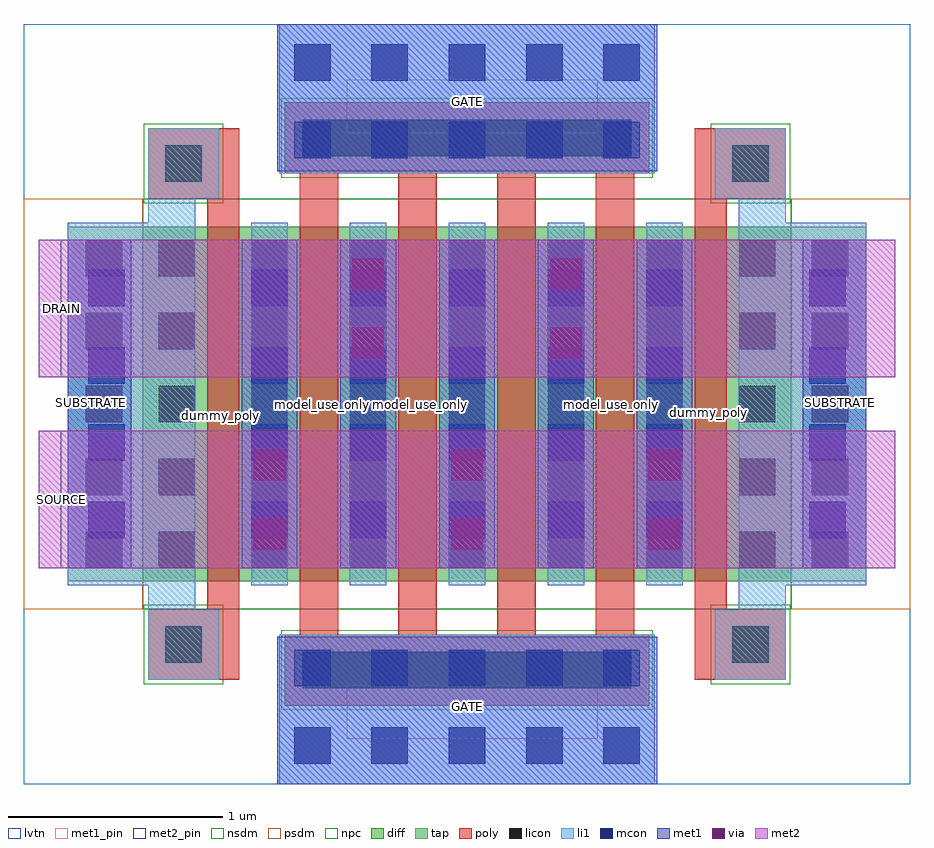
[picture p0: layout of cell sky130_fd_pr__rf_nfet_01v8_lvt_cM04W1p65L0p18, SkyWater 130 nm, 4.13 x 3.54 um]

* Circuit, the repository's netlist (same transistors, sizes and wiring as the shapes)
* Copyright 2020 The SkyWater PDK Authors
*
* Licensed under the Apache License, Version 2.0 (the "License");
* you may not use this file except in compliance with the License.
* You may obtain a copy of the License at
*
*     https://www.apache.org/licenses/LICENSE-2.0
*
* Unless required by applicable law or agreed to in writing, software
* distributed under the License is distributed on an "AS IS" BASIS,
* WITHOUT WARRANTIES OR CONDITIONS OF ANY KIND, either express or implied.
* See the License for the specific language governing permissions and
* limitations under the License.
*
* SPDX-License-Identifier: Apache-2.0


.subckt sky130_fd_pr__rf_nfet_01v8_lvt_cM04W1p65L0p18 DRAIN GATE SOURCE SUBSTRATE
X0 SOURCE GATE DRAIN SUBSTRATE sky130_fd_pr__nfet_01v8_lvt w=1.65e+06u l=180000u
X1 SOURCE SUBSTRATE SUBSTRATE SUBSTRATE sky130_fd_pr__nfet_01v8_lvt w=1.65e+06u l=150000u
X2 DRAIN GATE SOURCE SUBSTRATE sky130_fd_pr__nfet_01v8_lvt w=1.65e+06u l=180000u
X3 DRAIN GATE SOURCE SUBSTRATE sky130_fd_pr__nfet_01v8_lvt w=1.65e+06u l=180000u
X4 SUBSTRATE SUBSTRATE SOURCE SUBSTRATE sky130_fd_pr__nfet_01v8_lvt w=1.65e+06u l=150000u
X5 SOURCE GATE DRAIN SUBSTRATE sky130_fd_pr__nfet_01v8_lvt w=1.65e+06u l=180000u
.ends

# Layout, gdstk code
import gdstk
lib = gdstk.Library(unit=1e-6, precision=1e-09)
def R(c, l, rs):  # rectangles x0, y0, x1, y1
    for r in rs: c.add(gdstk.rectangle(r[:2], r[2:], *l))
def A(c, l, x, y, w, h, nx, ny, dx, dy):  # array of equal rectangles
    R(c, l, [(x+i*dx, y+j*dy, x+i*dx+w, y+j*dy+h) for i in range(nx) for j in range(ny)])
diff = (65, 20)
tap = (65, 44)
poly = (66, 20)
licon = (66, 44)
li1 = (67, 20)
mcon = (67, 44)
met1_pin = (68, 16)
met1 = (68, 20)
via = (68, 44)
met2_pin = (69, 16)
met2 = (69, 20)
nsdm = (93, 44)
psdm = (94, 20)
npc = (95, 20)
lvtn = (125, 44)

sky130_fd_pr__rf_nfet_01 = lib.new_cell('sky130_fd_pr__rf_nfet_01v8_lvt_cM04W1p65L0p18')
R(sky130_fd_pr__rf_nfet_01, diff, [(0.555,0.945,3.575,2.595)])
R(sky130_fd_pr__rf_nfet_01, tap, [(0.205,0.945,0.555,2.595), (3.575,0.945,3.925,2.595)])
A(sky130_fd_pr__rf_nfet_01, poly, 1.285, 0.695, 0.18, 2.15, 4, 1, 0.46, 0)
R(sky130_fd_pr__rf_nfet_01, poly, [(1.215,0.365,2.915,0.695), (0.58,0.485,0.91,0.815), (0.855,0.485,1.005,3.055), (3.125,0.485,3.275,3.055), (3.22,0.485,3.55,0.815), (0.58,2.725,0.91,3.055), (3.22,2.725,3.55,3.055), (1.215,2.845,2.915,3.175)])
A(sky130_fd_pr__rf_nfet_01, licon, 0.29, 1.005, 0.17, 0.17, 1, 5, 0, 0.34)
A(sky130_fd_pr__rf_nfet_01, licon, 0.63, 1.005, 0.17, 0.17, 1, 5, 0, 0.34)
A(sky130_fd_pr__rf_nfet_01, licon, 1.06, 1.005, 0.17, 1.53, 3, 1, 0.46, 0)
A(sky130_fd_pr__rf_nfet_01, licon, 1.98, 1.005, 0.17, 1.53, 3, 1, 0.46, 0)
A(sky130_fd_pr__rf_nfet_01, licon, 3.33, 1.005, 0.17, 0.17, 1, 5, 0, 0.34)
A(sky130_fd_pr__rf_nfet_01, licon, 3.67, 1.005, 0.17, 0.17, 1, 5, 0, 0.34)
R(sky130_fd_pr__rf_nfet_01, licon, [(1.3,0.445,2.83,0.615), (0.66,0.565,0.83,0.735), (3.3,0.565,3.47,0.735), (1.06,1.005,1.23,2.535), (2.9,1.005,3.07,2.535), (0.66,2.805,0.83,2.975), (3.3,2.805,3.47,2.975), (1.3,2.925,2.83,3.095)])
A(sky130_fd_pr__rf_nfet_01, li1, 1.06, 0.925, 0.17, 1.69, 5, 1, 0.46, 0)
R(sky130_fd_pr__rf_nfet_01, li1, [(1.19,0,2.94,0.695), (0.58,0.485,0.91,0.815), (3.22,0.485,3.55,0.815), (0.58,0.815,0.8,0.925), (3.33,0.815,3.55,0.925), (0.205,0.925,0.8,2.615), (3.33,0.925,3.925,2.615), (0.58,2.615,0.8,2.725), (3.33,2.615,3.55,2.725), (0.58,2.725,0.91,3.055), (3.22,2.725,3.55,3.055), (1.19,2.845,2.94,3.54)])
A(sky130_fd_pr__rf_nfet_01, mcon, 1.26, 0.095, 0.17, 0.17, 5, 2, 0.36, 0.36)
A(sky130_fd_pr__rf_nfet_01, mcon, 0.3, 1.145, 0.17, 0.17, 1, 4, 0, 0.36)
A(sky130_fd_pr__rf_nfet_01, mcon, 1.06, 1.145, 0.17, 0.17, 5, 4, 0.46, 0.36)
A(sky130_fd_pr__rf_nfet_01, mcon, 3.66, 1.145, 0.17, 0.17, 1, 4, 0, 0.36)
A(sky130_fd_pr__rf_nfet_01, mcon, 1.26, 2.915, 0.17, 0.17, 5, 2, 0.36, 0.36)
R(sky130_fd_pr__rf_nfet_01, met1_pin, [(1.505,0.21,2.675,0.46), (0.205,1.695,0.435,1.845), (3.695,1.695,3.925,1.845), (1.505,3.03,2.675,3.28)])
A(sky130_fd_pr__rf_nfet_01, met1, 1.015, 1.005, 0.26, 1.53, 5, 1, 0.46, 0)
R(sky130_fd_pr__rf_nfet_01, met1, [(1.18,0,2.95,0.685), (0.205,1.005,0.5,2.535), (3.63,1.005,3.925,2.535), (1.18,2.855,2.95,3.54)])
A(sky130_fd_pr__rf_nfet_01, via, 1.07, 1.09, 0.15, 0.15, 3, 2, 0.92, 0.32)
R(sky130_fd_pr__rf_nfet_01, via, [(1.53,1.98,1.68,2.13), (2.45,1.98,2.6,2.13), (1.53,2.3,1.68,2.45), (2.45,2.3,2.6,2.45)])
R(sky130_fd_pr__rf_nfet_01, met2_pin, [(0.07,1.005,0.175,1.645), (0.07,1.895,0.175,2.535)])
R(sky130_fd_pr__rf_nfet_01, met2, [(0.07,1.005,4.06,1.645), (0.07,1.895,4.06,2.535)])
R(sky130_fd_pr__rf_nfet_01, nsdm, [(0.555,0.815,3.575,2.725)])
R(sky130_fd_pr__rf_nfet_01, psdm, [(0,0.815,0.555,2.725), (3.575,0.815,4.13,2.725)])
R(sky130_fd_pr__rf_nfet_01, npc, [(1.2,0.345,2.93,0.715), (0.56,0.465,0.93,0.835), (3.2,0.465,3.57,0.835), (0.56,2.705,0.93,3.075), (3.2,2.705,3.57,3.075), (1.2,2.825,2.93,3.195)])
R(sky130_fd_pr__rf_nfet_01, lvtn, [(0,0,4.13,3.54)])
sky130_fd_pr__rf_nfet_01.add(gdstk.Label('dummy_poly', (3.19,1.73), layer=83, texttype=44))
sky130_fd_pr__rf_nfet_01.add(gdstk.Label('dummy_poly', (0.915,1.715), layer=83, texttype=44))
sky130_fd_pr__rf_nfet_01.add(gdstk.Label('GATE', (2.065,3.18), layer=68, texttype=5))
sky130_fd_pr__rf_nfet_01.add(gdstk.Label('GATE', (2.065,0.36), layer=68, texttype=5))
sky130_fd_pr__rf_nfet_01.add(gdstk.Label('SUBSTRATE', (0.315,1.775), layer=68, texttype=16))
sky130_fd_pr__rf_nfet_01.add(gdstk.Label('SUBSTRATE', (3.805,1.775), layer=68, texttype=16))
sky130_fd_pr__rf_nfet_01.add(gdstk.Label('model_use_only', (3.185,1.77), layer=66, texttype=83))
sky130_fd_pr__rf_nfet_01.add(gdstk.Label('model_use_only', (1.39,1.77), layer=66, texttype=83))
sky130_fd_pr__rf_nfet_01.add(gdstk.Label('model_use_only', (1.85,1.77), layer=66, texttype=83))
sky130_fd_pr__rf_nfet_01.add(gdstk.Label('model_use_only', (2.74,1.77), layer=66, texttype=83))
sky130_fd_pr__rf_nfet_01.add(gdstk.Label('model_use_only', (2.28,1.77), layer=66, texttype=83))
sky130_fd_pr__rf_nfet_01.add(gdstk.Label('model_use_only', (0.905,1.77), layer=66, texttype=83))
sky130_fd_pr__rf_nfet_01.add(gdstk.Label('SOURCE', (0.175,1.325), layer=69, texttype=5))
sky130_fd_pr__rf_nfet_01.add(gdstk.Label('DRAIN', (0.175,2.215), layer=69, texttype=5))

lib.write_gds('sky130_fd_pr__rf_nfet_01v8_lvt_cM04W1p65L0p18.gds')
